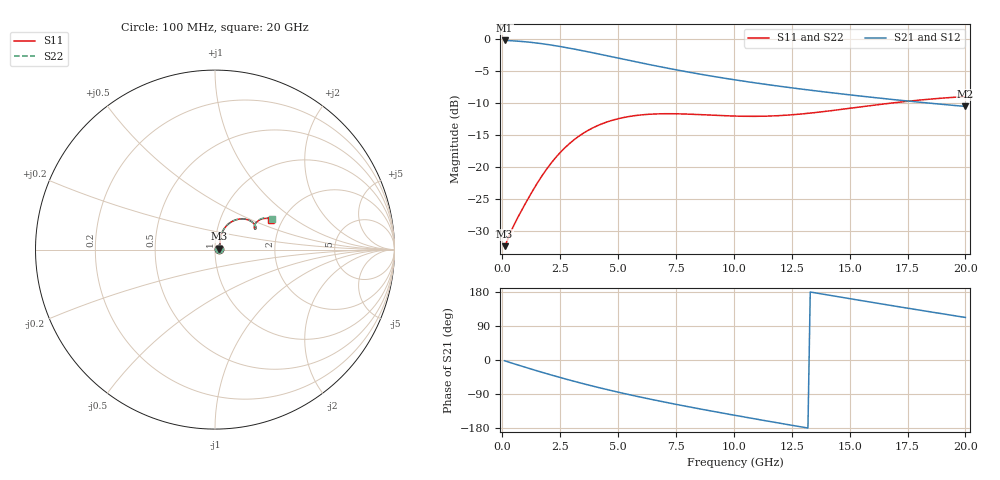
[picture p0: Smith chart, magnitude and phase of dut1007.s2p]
! Touchstone file exported from HFSS 2024.1.0
!  File:  C:/UserFiles/LocalFiles/RDL_TSV_Batchsim/temp_RDL_TSV_1007_1780077910.aedt
!  Generated:  02:20:57 AM May 30, 2026
!  Design:  RDL_TSV
!  Project:  temp_RDL_TSV_1007_1780077910
!  Setup:  Setup1
!  Solution:  Sweep
! Variables:
!  dtsv = 6.69um
!  hbump = 3um
!  htsv = 92.36um
!  ldown = 253.53um
!  lrdl = 692.32um
!  p = 40
!  p1 = 43.96um
!  rhole = 10um
!  subl = 3529.87um
!  t = 450um
!  tdown = 2.7um
!  trdl = 2.87um
!  viad = 10um
!  wdown = 18.44um
!  wrdl = 20.36um
!  xbump = 18um
# GHz S MA R 50.000000
! Terminal data exported
! Port[1] = TM1_1_T1
! Port[2] = TM1_4_T1
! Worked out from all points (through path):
!   200 points, 100 MHz to 20 GHz, reference 50 ohm
!   highest |S21| = -0.21 dB at 100 MHz (marker M1); lowest = -10.5 dB at 20 GHz (marker M2)
!   group delay of S21, straight-line fit = 32.8 ps
!   lowest |S11| = -32.4 dB at 100 MHz (marker M3), VSWR 1.05, Z = 52.4 + j0.551 ohm
!   |S11| at or under -10 dB: start of sweep to 16.8 GHz
!   |S22| runs from -32.4 to -8.9 dB; largest |S21 - S12| = 3.6e-14
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0.1  0.02406 12.6  0.9763 -2.0  0.9763 -2.0  0.02406 12.6
! Gamma 0 0 0 0
! Port Impedance 50 0 50 0
0.5  0.03507 40.7  0.9686 -9.8  0.9686 -9.8  0.03507 40.7
0.9  0.04821 54.4  0.9567 -17.4  0.9567 -17.4  0.0482 54.4
1.4  0.06941 64.0  0.9365 -26.7  0.9365 -26.7  0.06941 64.0
1.9  0.09549 67.3  0.9109 -35.8  0.9109 -35.8  0.0955 67.3
2.3  0.1183 66.9  0.8876 -42.8  0.8876 -42.8  0.1183 66.9
2.7  0.1413 64.9  0.8626 -49.6  0.8626 -49.6  0.1413 65.0
3.5  0.1839 58.6  0.8097 -62.6  0.8097 -62.6  0.1839 58.7
4.2  0.214 52.3  0.7628 -73.3  0.7628 -73.3  0.2141 52.4
4.9  0.2361 46.2  0.7174 -83.4  0.7174 -83.4  0.2362 46.2
5.8  0.2533 39.3  0.6631 -95.7  0.6631 -95.7  0.2534 39.3
6.8  0.2607 33.3  0.6092 -108.5  0.6092 -108.5  0.2608 33.4
7.6  0.2606 29.9  0.5714 -118.2  0.5714 -118.2  0.2607 30.0
8.4  0.2576 27.8  0.5378 -127.5  0.5378 -127.5  0.2576 27.9
9.2  0.2536 26.9  0.5081 -136.6  0.5081 -136.6  0.2536 27.0
10.1  0.2501 27.0  0.4787 -146.6  0.4787 -146.6  0.25 27.2
11.7  0.251 29.4  0.4348 -163.8  0.4348 -163.8  0.2511 29.6
13.4  0.2652 32.3  0.3967 178.4  0.3967 178.4  0.2657 32.7
15.1  0.2893 33.7  0.365 160.9  0.365 160.9  0.2904 34.0
16.7  0.3147 33.0  0.3395 144.7  0.3395 144.7  0.3163 33.4
18.3  0.3375 31.0  0.3176 128.9  0.3176 128.9  0.3397 31.3
20  0.3554 28.1  0.2978 112.3  0.2978 112.3  0.3582 28.4
